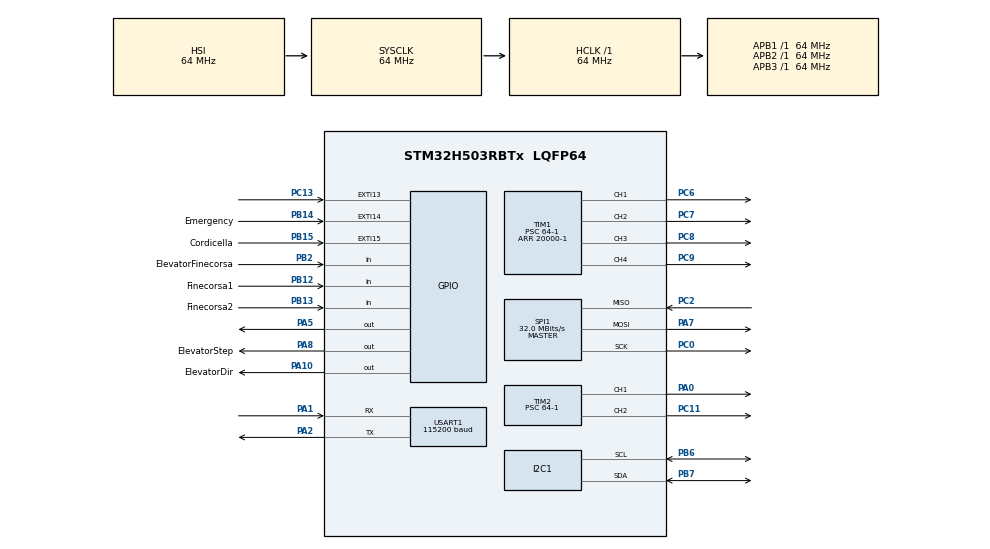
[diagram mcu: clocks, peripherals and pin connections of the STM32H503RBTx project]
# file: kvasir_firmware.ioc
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BOOTPATH.BootPathName=LEGACY
BOOTPATH.UserSelectedBootPath=LEGACY
I2C1.Timing=0x10707DBC
Mcu.Family=STM32H5
Mcu.Name=STM32H503RBTx
Mcu.Package=LQFP64
NUCLEO-H503RB.BUTTON=2
NUCLEO-H503RB.LD2=true
NUCLEO-H503RB.VCP=true
NVIC.EXTI14_IRQn=true\:0\:0\:false\:false\:true\:true\:true\:true
NVIC.EXTI15_IRQn=true\:0\:0\:false\:false\:true\:true\:true\:true
NVIC.PriorityGroup=NVIC_PRIORITYGROUP_4
PA0.Signal=S_TIM2_CH1
PA1.Mode=Asynchronous
PA1.Signal=USART1_RX
PA10.GPIO_Label=ElevatorDir
PA10.Signal=GPIO_Output
PA2.GPIO_PuPd=GPIO_PULLUP
PA2.GPIO_Speed=GPIO_SPEED_FREQ_VERY_HIGH
PA2.Mode=Asynchronous
PA2.Signal=USART1_TX
PA3.Signal=USART3_RX
PA4.Signal=USART3_TX
PA5.Signal=GPIO_Output
PA7.Mode=Full_Duplex_Master
PA7.Signal=SPI1_MOSI
PA8.GPIO_Label=ElevatorStep
PA8.Signal=GPIO_Output
PB12.GPIO_Label=Finecorsa1
PB12.GPIO_PuPd=GPIO_PULLUP
PB12.Signal=GPIO_Input
PB13.GPIO_Label=Finecorsa2
PB13.GPIO_PuPd=GPIO_PULLUP
PB13.Signal=GPIO_Input
PB14.GPIO_Label=Emergency
PB14.GPIO_ModeDefaultEXTI=GPIO_MODE_IT_RISING_FALLING
PB14.GPIO_PuPd=GPIO_PULLDOWN
PB14.Signal=GPXTI14
PB15.GPIO_Label=Cordicella
PB15.GPIO_PuPd=GPIO_PULLDOWN
PB15.Signal=GPXTI15
PB2.GPIO_Label=ElevatorFinecorsa
PB2.GPIO_PuPd=GPIO_PULLUP
PB2.Signal=GPIO_Input
PB6.Mode=I2C
PB6.Signal=I2C1_SCL
PB7.Mode=I2C
PB7.Signal=I2C1_SDA
PC0.Mode=Full_Duplex_Master
PC0.Signal=SPI1_SCK
PC11.Signal=S_TIM2_CH2
PC13.Signal=GPXTI13
PC2.Mode=Full_Duplex_Master
PC2.Signal=SPI1_MISO
PC3.Signal=LPUART1_TX
PC6.Signal=S_TIM1_CH1
PC7.Signal=S_TIM1_CH2
PC8.Signal=S_TIM1_CH3
PC9.Signal=S_TIM1_CH4
ProjectManager.HeapSize=0x200
ProjectManager.StackSize=0x400
ProjectManager.TargetToolchain=STM32CubeIDE
RCC.ADCFreq_Value=64000000
RCC.AHBFreq_Value=64000000
RCC.APB1Freq_Value=64000000
RCC.APB1TimFreq_Value=64000000
RCC.APB2Freq_Value=64000000
RCC.APB2TimFreq_Value=64000000
RCC.APB3Freq_Value=64000000
RCC.CSI_VALUE=4000000
RCC.CortexFreq_Value=64000000
RCC.EPOD_VALUE=4000000
RCC.HCLKFreq_Value=64000000
RCC.HSE_VALUE=24000000
RCC.HSI48_VALUE=48000000
RCC.HSIDiv=RCC_HSI_DIV1
RCC.HSI_VALUE=64000000
RCC.LSE_VALUE=32768
RCC.LSIRC_VALUE=32000
RCC.PLLN=32
RCC.SYSCLKFreq_VALUE=64000000
RCC.USBFreq_Value=48000000
RCC.VCOOutputFreq_Value=128000000
SH.S_TIM1_CH1.0=TIM1_CH1,PWM Generation1 CH1
SH.S_TIM1_CH2.0=TIM1_CH2,PWM Generation2 CH2
SH.S_TIM1_CH3.0=TIM1_CH3,PWM Generation3 CH3
SH.S_TIM1_CH4.0=TIM1_CH4,PWM Generation4 CH4
SH.S_TIM2_CH1.0=TIM2_CH1,PWM Generation1 CH1
SH.S_TIM2_CH2.0=TIM2_CH2,PWM Generation2 CH2
SPI1.CalculateBaudRate=32.0 MBits/s
SPI1.Direction=SPI_DIRECTION_2LINES
SPI1.Mode=SPI_MODE_MASTER
SPI1.VirtualType=VM_MASTER
TIM1.Channel-PWM\ Generation1\ CH1=TIM_CHANNEL_1
TIM1.Channel-PWM\ Generation2\ CH2=TIM_CHANNEL_2
TIM1.Channel-PWM\ Generation3\ CH3=TIM_CHANNEL_3
TIM1.Channel-PWM\ Generation4\ CH4=TIM_CHANNEL_4
TIM1.PeriodNoDither=20000-1
TIM1.Prescaler=64-1
TIM1.PulseNoDither_1=0
TIM2.Channel-PWM\ Generation1\ CH1=TIM_CHANNEL_1
TIM2.Channel-PWM\ Generation2\ CH2=TIM_CHANNEL_2
TIM2.PeriodNoDither=20000-1
TIM2.Prescaler=64-1
TIM3.Prescaler=64-1
USART1.BaudRate=115200
USART1.VirtualMode-Asynchronous=VM_ASYNC
VP_BOOTPATH_VS_BOOTPATH.Mode=BP_Activate
VP_CORTEX_M33_NS_VS_Hclk.Mode=Hclk_Mode
VP_ICACHE_VS_ICACHE.Mode=DefaultMode
VP_MEMORYMAP_VS_MEMORYMAP.Mode=CurAppReg
VP_NUCLEO-H503RB_VS_BSP_COMMON.Mode=COMMON
VP_PWR_VS_DBSignals.Mode=DisableDeadBatterySignals
VP_PWR_VS_LPOM.Mode=PowerOptimisation
VP_PWR_VS_SECSignals.Mode=Security/Privilege
VP_TIM1_VS_ClockSourceINT.Mode=Internal
VP_TIM2_VS_ClockSourceINT.Mode=Internal
VP_TIM3_VS_ClockSourceINT.Mode=Internal
board=NUCLEO-H503RB

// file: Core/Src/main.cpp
/* USER CODE BEGIN Header */
/**
 ******************************************************************************
 * @file           : main.c
 * @brief          : Main program body
 ******************************************************************************
 * @attention
 *
 * Copyright (c) 2024 STMicroelectronics.
 * All rights reserved.
 *
 * This software is licensed under terms that can be found in the LICENSE file
 * in the root directory of this software component.
 * If no LICENSE file comes with this software, it is provided AS-IS.
 *
 ******************************************************************************
 */
/* USER CODE END Header */
#include "main.h"

/* USER CODE BEGIN Includes */
#include "robot.hpp"
#include "commands.hpp"
#include "constants.hpp"
/* USER CODE END Includes */

COM_InitTypeDef BspCOMInit;

I2C_HandleTypeDef hi2c1;

SPI_HandleTypeDef hspi1;

TIM_HandleTypeDef htim1;
TIM_HandleTypeDef htim2;
TIM_HandleTypeDef htim3;

UART_HandleTypeDef huart1;

/* USER CODE BEGIN PV */
Robot robot;

volatile uint8_t error_flashes = 0;
/* USER CODE END PV */

void SystemClock_Config(void);
static void MX_GPIO_Init(void);
static void MX_ICACHE_Init(void);
static void MX_USART1_UART_Init(void);
static void MX_I2C1_Init(void);
static void MX_TIM1_Init(void);
static void MX_TIM2_Init(void);
static void MX_SPI1_Init(void);
static void MX_TIM3_Init(void);

int main(void) {

    /* MCU Configuration--------------------------------------------------------*/

    /* Reset of all peripherals, Initializes the Flash interface and the Systick. */
    HAL_Init();

    /* Configure the system clock */
    SystemClock_Config();

    /* Initialize all configured peripherals */
    MX_GPIO_Init();
    MX_ICACHE_Init();
    MX_USART1_UART_Init();
    MX_I2C1_Init();
    MX_TIM1_Init();
    MX_TIM2_Init();
    MX_SPI1_Init();
    MX_TIM3_Init();

    /* Initialize led */
    BSP_LED_Init(LED_GREEN);

    /* Initialize User push-button without interrupt mode. */
    BSP_PB_Init(BUTTON_USER, BUTTON_MODE_GPIO);

    /* Initialize COM1 port (115200, 8 bits (7-bit data + 1 stop bit), no parity */
    BspCOMInit.BaudRate = 115200;
    BspCOMInit.WordLength = COM_WORDLENGTH_8B;
    BspCOMInit.StopBits = COM_STOPBITS_1;
    BspCOMInit.Parity = COM_PARITY_NONE;
    BspCOMInit.HwFlowCtl = COM_HWCONTROL_NONE;
    if (BSP_COM_Init(COM1, &BspCOMInit) != BSP_ERROR_NONE) {
        Error_Handler();
    }

    /* Infinite loop */
    /* USER CODE BEGIN WHILE */

    // XXX: this is a hack due to the fact that the ioc file does not let us configure these things directly on USART3, so we do it ourselves in code.
    HAL_NVIC_SetPriority(USART3_IRQn, 0, 0);
    HAL_NVIC_EnableIRQ(USART3_IRQn);

    // Start all PWM channels.
    HAL_TIM_PWM_Start(&htim1, TIM_CHANNEL_1);
    HAL_TIM_PWM_Start(&htim1, TIM_CHANNEL_2);
    HAL_TIM_PWM_Start(&htim1, TIM_CHANNEL_3);
    HAL_TIM_PWM_Start(&htim1, TIM_CHANNEL_4);
    HAL_TIM_PWM_Start(&htim2, TIM_CHANNEL_1);
    HAL_TIM_PWM_Start(&htim2, TIM_CHANNEL_2);

    robot.init( { .pico_uart = &huart1, .usb_uart = &hcom_uart[COM1], .i2c = &hi2c1, });

    while (1) {
        /* USER CODE END WHILE */

        /* USER CODE BEGIN 3 */
        robot.recv_command();
    }
    /* USER CODE END 3 */
}

void SystemClock_Config(void) {
    RCC_OscInitTypeDef RCC_OscInitStruct = { 0 };
    RCC_ClkInitTypeDef RCC_ClkInitStruct = { 0 };

    /** Configure the main internal regulator output voltage
     */
    __HAL_PWR_VOLTAGESCALING_CONFIG(PWR_REGULATOR_VOLTAGE_SCALE3);

    while (!__HAL_PWR_GET_FLAG(PWR_FLAG_VOSRDY)) {
    }

    /** Initializes the RCC Oscillators according to the specified parameters
     * in the RCC_OscInitTypeDef structure.
     */
    RCC_OscInitStruct.OscillatorType = RCC_OSCILLATORTYPE_HSI | RCC_OSCILLATORTYPE_CSI;
    RCC_OscInitStruct.HSIState = RCC_HSI_ON;
    RCC_OscInitStruct.HSIDiv = RCC_HSI_DIV1;
    RCC_OscInitStruct.HSICalibrationValue = RCC_HSICALIBRATION_DEFAULT;
    RCC_OscInitStruct.CSIState = RCC_CSI_ON;
    RCC_OscInitStruct.CSICalibrationValue = RCC_CSICALIBRATION_DEFAULT;
    RCC_OscInitStruct.PLL.PLLState = RCC_PLL_ON;
    RCC_OscInitStruct.PLL.PLLSource = RCC_PLL1_SOURCE_CSI;
    RCC_OscInitStruct.PLL.PLLM = 1;
    RCC_OscInitStruct.PLL.PLLN = 32;
    RCC_OscInitStruct.PLL.PLLP = 2;
    RCC_OscInitStruct.PLL.PLLQ = 2;
    RCC_OscInitStruct.PLL.PLLR = 2;
    RCC_OscInitStruct.PLL.PLLRGE = RCC_PLL1_VCIRANGE_2;
    RCC_OscInitStruct.PLL.PLLVCOSEL = RCC_PLL1_VCORANGE_WIDE;
    RCC_OscInitStruct.PLL.PLLFRACN = 0;
    if (HAL_RCC_OscConfig(&RCC_OscInitStruct) != HAL_OK) {
        Error_Handler();
    }

    /** Initializes the CPU, AHB and APB buses clocks
     */
    RCC_ClkInitStruct.ClockType = RCC_CLOCKTYPE_HCLK | RCC_CLOCKTYPE_SYSCLK | RCC_CLOCKTYPE_PCLK1
            | RCC_CLOCKTYPE_PCLK2 | RCC_CLOCKTYPE_PCLK3;
    RCC_ClkInitStruct.SYSCLKSource = RCC_SYSCLKSOURCE_HSI;
    RCC_ClkInitStruct.AHBCLKDivider = RCC_SYSCLK_DIV1;
    RCC_ClkInitStruct.APB1CLKDivider = RCC_HCLK_DIV1;
    RCC_ClkInitStruct.APB2CLKDivider = RCC_HCLK_DIV1;
    RCC_ClkInitStruct.APB3CLKDivider = RCC_HCLK_DIV1;

    if (HAL_RCC_ClockConfig(&RCC_ClkInitStruct, FLASH_LATENCY_3) != HAL_OK) {
        Error_Handler();
    }

    /** Configure the programming delay
     */
    __HAL_FLASH_SET_PROGRAM_DELAY(FLASH_PROGRAMMING_DELAY_1);
}

static void MX_I2C1_Init(void) {

    hi2c1.Instance = I2C1;
    hi2c1.Init.Timing = 0x10707DBC;
    hi2c1.Init.OwnAddress1 = 0;
    hi2c1.Init.AddressingMode = I2C_ADDRESSINGMODE_7BIT;
    hi2c1.Init.DualAddressMode = I2C_DUALADDRESS_DISABLE;
    hi2c1.Init.OwnAddress2 = 0;
    hi2c1.Init.OwnAddress2Masks = I2C_OA2_NOMASK;
    hi2c1.Init.GeneralCallMode = I2C_GENERALCALL_DISABLE;
    hi2c1.Init.NoStretchMode = I2C_NOSTRETCH_DISABLE;
    if (HAL_I2C_Init(&hi2c1) != HAL_OK) {
        Error_Handler();
    }

    /** Configure Analogue filter
     */
    if (HAL_I2CEx_ConfigAnalogFilter(&hi2c1, I2C_ANALOGFILTER_ENABLE) != HAL_OK) {
        Error_Handler();
    }

    /** Configure Digital filter
     */
    if (HAL_I2CEx_ConfigDigitalFilter(&hi2c1, 0) != HAL_OK) {
        Error_Handler();
    }

}

static void MX_ICACHE_Init(void) {

    /** Enable instruction cache (default 2-ways set associative cache)
     */
    if (HAL_ICACHE_Enable() != HAL_OK) {
        Error_Handler();
    }

}

static void MX_SPI1_Init(void) {

    /* SPI1 parameter configuration*/
    hspi1.Instance = SPI1;
    hspi1.Init.Mode = SPI_MODE_MASTER;
    hspi1.Init.Direction = SPI_DIRECTION_2LINES;
    hspi1.Init.DataSize = SPI_DATASIZE_4BIT;
    hspi1.Init.CLKPolarity = SPI_POLARITY_LOW;
    hspi1.Init.CLKPhase = SPI_PHASE_1EDGE;
    hspi1.Init.NSS = SPI_NSS_SOFT;
    hspi1.Init.BaudRatePrescaler = SPI_BAUDRATEPRESCALER_2;
    hspi1.Init.FirstBit = SPI_FIRSTBIT_MSB;
    hspi1.Init.TIMode = SPI_TIMODE_DISABLE;
    hspi1.Init.CRCCalculation = SPI_CRCCALCULATION_DISABLE;
    hspi1.Init.CRCPolynomial = 0x7;
    hspi1.Init.NSSPMode = SPI_NSS_PULSE_ENABLE;
    hspi1.Init.NSSPolarity = SPI_NSS_POLARITY_LOW;
    hspi1.Init.FifoThreshold = SPI_FIFO_THRESHOLD_01DATA;
    hspi1.Init.MasterSSIdleness = SPI_MASTER_SS_IDLENESS_00CYCLE;
    hspi1.Init.MasterInterDataIdleness = SPI_MASTER_INTERDATA_IDLENESS_00CYCLE;
    hspi1.Init.MasterReceiverAutoSusp = SPI_MASTER_RX_AUTOSUSP_DISABLE;
    hspi1.Init.MasterKeepIOState = SPI_MASTER_KEEP_IO_STATE_DISABLE;
    hspi1.Init.IOSwap = SPI_IO_SWAP_DISABLE;
    hspi1.Init.ReadyMasterManagement = SPI_RDY_MASTER_MANAGEMENT_INTERNALLY;
    hspi1.Init.ReadyPolarity = SPI_RDY_POLARITY_HIGH;
    if (HAL_SPI_Init(&hspi1) != HAL_OK) {
        Error_Handler();
    }

}

static void MX_TIM1_Init(void) {

    TIM_ClockConfigTypeDef sClockSourceConfig = { 0 };
    TIM_MasterConfigTypeDef sMasterConfig = { 0 };
    TIM_OC_InitTypeDef sConfigOC = { 0 };
    TIM_BreakDeadTimeConfigTypeDef sBreakDeadTimeConfig = { 0 };

    htim1.Instance = TIM1;
    htim1.Init.Prescaler = 64 - 1;
    htim1.Init.CounterMode = TIM_COUNTERMODE_UP;
    htim1.Init.Period = 19999;
    htim1.Init.ClockDivision = TIM_CLOCKDIVISION_DIV1;
    htim1.Init.RepetitionCounter = 0;
    htim1.Init.AutoReloadPreload = TIM_AUTORELOAD_PRELOAD_DISABLE;
    if (HAL_TIM_Base_Init(&htim1) != HAL_OK) {
        Error_Handler();
    }
    sClockSourceConfig.ClockSource = TIM_CLOCKSOURCE_INTERNAL;
    if (HAL_TIM_ConfigClockSource(&htim1, &sClockSourceConfig) != HAL_OK) {
        Error_Handler();
    }
    if (HAL_TIM_PWM_Init(&htim1) != HAL_OK) {
        Error_Handler();
    }
    sMasterConfig.MasterOutputTrigger = TIM_TRGO_RESET;
    sMasterConfig.MasterOutputTrigger2 = TIM_TRGO2_RESET;
    sMasterConfig.MasterSlaveMode = TIM_MASTERSLAVEMODE_DISABLE;
    if (HAL_TIMEx_MasterConfigSynchronization(&htim1, &sMasterConfig) != HAL_OK) {
        Error_Handler();
    }
    sConfigOC.OCMode = TIM_OCMODE_PWM1;
    sConfigOC.Pulse = 0;
    sConfigOC.OCPolarity = TIM_OCPOLARITY_HIGH;
    sConfigOC.OCNPolarity = TIM_OCNPOLARITY_HIGH;
    sConfigOC.OCFastMode = TIM_OCFAST_DISABLE;
    sConfigOC.OCIdleState = TIM_OCIDLESTATE_RESET;
    sConfigOC.OCNIdleState = TIM_OCNIDLESTATE_RESET;
    if (HAL_TIM_PWM_ConfigChannel(&htim1, &sConfigOC, TIM_CHANNEL_1) != HAL_OK) {
        Error_Handler();
    }
    if (HAL_TIM_PWM_ConfigChannel(&htim1, &sConfigOC, TIM_CHANNEL_2) != HAL_OK) {
        Error_Handler();
    }
    if (HAL_TIM_PWM_ConfigChannel(&htim1, &sConfigOC, TIM_CHANNEL_3) != HAL_OK) {
        Error_Handler();
    }
    if (HAL_TIM_PWM_ConfigChannel(&htim1, &sConfigOC, TIM_CHANNEL_4) != HAL_OK) {
        Error_Handler();
    }
    sBreakDeadTimeConfig.OffStateRunMode = TIM_OSSR_DISABLE;
    sBreakDeadTimeConfig.OffStateIDLEMode = TIM_OSSI_DISABLE;
    sBreakDeadTimeConfig.LockLevel = TIM_LOCKLEVEL_OFF;
    sBreakDeadTimeConfig.DeadTime = 0;
    sBreakDeadTimeConfig.BreakState = TIM_BREAK_DISABLE;
    sBreakDeadTimeConfig.BreakPolarity = TIM_BREAKPOLARITY_HIGH;
    sBreakDeadTimeConfig.BreakFilter = 0;
    sBreakDeadTimeConfig.BreakAFMode = TIM_BREAK_AFMODE_INPUT;
    sBreakDeadTimeConfig.Break2State = TIM_BREAK2_DISABLE;
    sBreakDeadTimeConfig.Break2Polarity = TIM_BREAK2POLARITY_HIGH;
    sBreakDeadTimeConfig.Break2Filter = 0;
    sBreakDeadTimeConfig.Break2AFMode = TIM_BREAK_AFMODE_INPUT;
    sBreakDeadTimeConfig.AutomaticOutput = TIM_AUTOMATICOUTPUT_DISABLE;
    if (HAL_TIMEx_ConfigBreakDeadTime(&htim1, &sBreakDeadTimeConfig) != HAL_OK) {
        Error_Handler();
    }
    HAL_TIM_MspPostInit(&htim1);

}

static void MX_TIM2_Init(void) {

    TIM_ClockConfigTypeDef sClockSourceConfig = { 0 };
    TIM_MasterConfigTypeDef sMasterConfig = { 0 };
    TIM_OC_InitTypeDef sConfigOC = { 0 };

    htim2.Instance = TIM2;
    htim2.Init.Prescaler = 64 - 1;
    htim2.Init.CounterMode = TIM_COUNTERMODE_UP;
    htim2.Init.Period = 19999;
    htim2.Init.ClockDivision = TIM_CLOCKDIVISION_DIV1;
    htim2.Init.AutoReloadPreload = TIM_AUTORELOAD_PRELOAD_DISABLE;
    if (HAL_TIM_Base_Init(&htim2) != HAL_OK) {
        Error_Handler();
    }
    sClockSourceConfig.ClockSource = TIM_CLOCKSOURCE_INTERNAL;
    if (HAL_TIM_ConfigClockSource(&htim2, &sClockSourceConfig) != HAL_OK) {
        Error_Handler();
    }
    if (HAL_TIM_PWM_Init(&htim2) != HAL_OK) {
        Error_Handler();
    }
    sMasterConfig.MasterOutputTrigger = TIM_TRGO_RESET;
    sMasterConfig.MasterSlaveMode = TIM_MASTERSLAVEMODE_DISABLE;
    if (HAL_TIMEx_MasterConfigSynchronization(&htim2, &sMasterConfig) != HAL_OK) {
        Error_Handler();
    }
    sConfigOC.OCMode = TIM_OCMODE_PWM1;
    sConfigOC.Pulse = 0;
    sConfigOC.OCPolarity = TIM_OCPOLARITY_HIGH;
    sConfigOC.OCFastMode = TIM_OCFAST_DISABLE;
    if (HAL_TIM_PWM_ConfigChannel(&htim2, &sConfigOC, TIM_CHANNEL_1) != HAL_OK) {
        Error_Handler();
    }
    if (HAL_TIM_PWM_ConfigChannel(&htim2, &sConfigOC, TIM_CHANNEL_2) != HAL_OK) {
        Error_Handler();
    }
    HAL_TIM_MspPostInit(&htim2);

}

static void MX_TIM3_Init(void) {

    TIM_ClockConfigTypeDef sClockSourceConfig = { 0 };
    TIM_MasterConfigTypeDef sMasterConfig = { 0 };

    htim3.Instance = TIM3;
    htim3.Init.Prescaler = 64 - 1;
    htim3.Init.CounterMode = TIM_COUNTERMODE_UP;
    htim3.Init.Period = 65535;
    htim3.Init.ClockDivision = TIM_CLOCKDIVISION_DIV1;
    htim3.Init.AutoReloadPreload = TIM_AUTORELOAD_PRELOAD_DISABLE;
    if (HAL_TIM_Base_Init(&htim3) != HAL_OK) {
        Error_Handler();
    }
    sClockSourceConfig.ClockSource = TIM_CLOCKSOURCE_INTERNAL;
    if (HAL_TIM_ConfigClockSource(&htim3, &sClockSourceConfig) != HAL_OK) {
        Error_Handler();
    }
    sMasterConfig.MasterOutputTrigger = TIM_TRGO_RESET;
    sMasterConfig.MasterSlaveMode = TIM_MASTERSLAVEMODE_DISABLE;
    if (HAL_TIMEx_MasterConfigSynchronization(&htim3, &sMasterConfig) != HAL_OK) {
        Error_Handler();
    }

}

static void MX_USART1_UART_Init(void) {

    huart1.Instance = USART1;
    huart1.Init.BaudRate = 115200;
    huart1.Init.WordLength = UART_WORDLENGTH_8B;
    huart1.Init.StopBits = UART_STOPBITS_1;
    huart1.Init.Parity = UART_PARITY_NONE;
    huart1.Init.Mode = UART_MODE_TX_RX;
    huart1.Init.HwFlowCtl = UART_HWCONTROL_NONE;
    huart1.Init.OverSampling = UART_OVERSAMPLING_16;
    huart1.Init.OneBitSampling = UART_ONE_BIT_SAMPLE_DISABLE;
    huart1.Init.ClockPrescaler = UART_PRESCALER_DIV1;
    huart1.AdvancedInit.AdvFeatureInit = UART_ADVFEATURE_NO_INIT;
    if (HAL_UART_Init(&huart1) != HAL_OK) {
        Error_Handler();
    }
    if (HAL_UARTEx_SetTxFifoThreshold(&huart1, UART_TXFIFO_THRESHOLD_1_8) != HAL_OK) {
        Error_Handler();
    }
    if (HAL_UARTEx_SetRxFifoThreshold(&huart1, UART_RXFIFO_THRESHOLD_1_8) != HAL_OK) {
        Error_Handler();
    }
    if (HAL_UARTEx_DisableFifoMode(&huart1) != HAL_OK) {
        Error_Handler();
    }

}

static void MX_GPIO_Init(void) {
    GPIO_InitTypeDef GPIO_InitStruct = { 0 };

    /* GPIO Ports Clock Enable */
    __HAL_RCC_GPIOC_CLK_ENABLE();
    __HAL_RCC_GPIOA_CLK_ENABLE();
    __HAL_RCC_GPIOB_CLK_ENABLE();

    /*Configure GPIO pin Output Level */
    HAL_GPIO_WritePin(GPIOA, GPIO_PIN_5 | ElevatorStep_Pin | ElevatorDir_Pin, GPIO_PIN_RESET);

    /*Configure GPIO pin : PC13 */
    GPIO_InitStruct.Pin = GPIO_PIN_13;
    GPIO_InitStruct.Mode = GPIO_MODE_IT_RISING;
    GPIO_InitStruct.Pull = GPIO_NOPULL;
    HAL_GPIO_Init(GPIOC, &GPIO_InitStruct);

    /*Configure GPIO pin : PC3 */
    GPIO_InitStruct.Pin = GPIO_PIN_3;
    GPIO_InitStruct.Mode = GPIO_MODE_AF_PP;
    GPIO_InitStruct.Pull = GPIO_NOPULL;
    GPIO_InitStruct.Speed = GPIO_SPEED_FREQ_LOW;
    GPIO_InitStruct.Alternate = GPIO_AF3_LPUART1;
    HAL_GPIO_Init(GPIOC, &GPIO_InitStruct);

    /*Configure GPIO pins : PA3 PA4 */
    GPIO_InitStruct.Pin = GPIO_PIN_3 | GPIO_PIN_4;
    GPIO_InitStruct.Mode = GPIO_MODE_AF_PP;
    GPIO_InitStruct.Pull = GPIO_NOPULL;
    GPIO_InitStruct.Speed = GPIO_SPEED_FREQ_LOW;
    GPIO_InitStruct.Alternate = GPIO_AF13_USART3;
    HAL_GPIO_Init(GPIOA, &GPIO_InitStruct);

    /*Configure GPIO pins : PA5 ElevatorStep_Pin ElevatorDir_Pin */
    GPIO_InitStruct.Pin = GPIO_PIN_5 | ElevatorStep_Pin | ElevatorDir_Pin;
    GPIO_InitStruct.Mode = GPIO_MODE_OUTPUT_PP;
    GPIO_InitStruct.Pull = GPIO_NOPULL;
    GPIO_InitStruct.Speed = GPIO_SPEED_FREQ_LOW;
    HAL_GPIO_Init(GPIOA, &GPIO_InitStruct);

    /*Configure GPIO pins : ElevatorFinecorsa_Pin Finecorsa1_Pin Finecorsa2_Pin */
    GPIO_InitStruct.Pin = ElevatorFinecorsa_Pin | Finecorsa1_Pin | Finecorsa2_Pin;
    GPIO_InitStruct.Mode = GPIO_MODE_INPUT;
    GPIO_InitStruct.Pull = GPIO_PULLUP;
    HAL_GPIO_Init(GPIOB, &GPIO_InitStruct);

    /*Configure GPIO pin : Emergency_Pin */
    GPIO_InitStruct.Pin = Emergency_Pin;
    GPIO_InitStruct.Mode = GPIO_MODE_IT_RISING_FALLING;
    GPIO_InitStruct.Pull = GPIO_PULLDOWN;
    HAL_GPIO_Init(Emergency_GPIO_Port, &GPIO_InitStruct);

    /*Configure GPIO pin : Cordicella_Pin */
    GPIO_InitStruct.Pin = Cordicella_Pin;
    GPIO_InitStruct.Mode = GPIO_MODE_IT_RISING;
    GPIO_InitStruct.Pull = GPIO_PULLDOWN;
    HAL_GPIO_Init(Cordicella_GPIO_Port, &GPIO_InitStruct);

    /* EXTI interrupt init*/
    HAL_NVIC_SetPriority(EXTI14_IRQn, 0, 0);
    HAL_NVIC_EnableIRQ(EXTI14_IRQn);

    HAL_NVIC_SetPriority(EXTI15_IRQn, 0, 0);
    HAL_NVIC_EnableIRQ(EXTI15_IRQn);

}

/* USER CODE BEGIN 4 */
void HAL_UART_RxCpltCallback(UART_HandleTypeDef *huart) {
    if (huart != robot.usb_uart_) return;
    robot.usb_rx_buf_.push(robot.usb_rx_temp_);
    HAL_UART_Receive_IT(huart, &robot.usb_rx_temp_, 1);
}

void busy_wait(uint32_t ms) {
    uint32_t count = (SystemCoreClock / 8000) * ms; // Approximate for 1ms (tune as needed)
    while (count--) {
        __NOP(); // Prevents aggressive compiler optimizations
    }
}

void HAL_GPIO_EXTI_Falling_Callback(uint16_t GPIO_Pin) {
    robot.falling_pin_callback(GPIO_Pin);
}

void HAL_GPIO_EXTI_Rising_Callback(uint16_t GPIO_Pin) {
    robot.rising_pin_callback(GPIO_Pin);
}

/* USER CODE END 4 */

void Error_Handler(void) {
    /* USER CODE BEGIN Error_Handler_Debug */
    /* User can add his own implementation to report the HAL error return state */
    __disable_irq();
    while (1) {
        if (error_flashes == 0) {
            BSP_LED_On(LED_GREEN);
        } else {
            for (uint8_t i = 0; i < error_flashes; i++) {
                BSP_LED_On(LED_GREEN);
                busy_wait(100);
                BSP_LED_Off(LED_GREEN);
                busy_wait(100);
            }
        }
        busy_wait(500);
    }
    /* USER CODE END Error_Handler_Debug */
}
